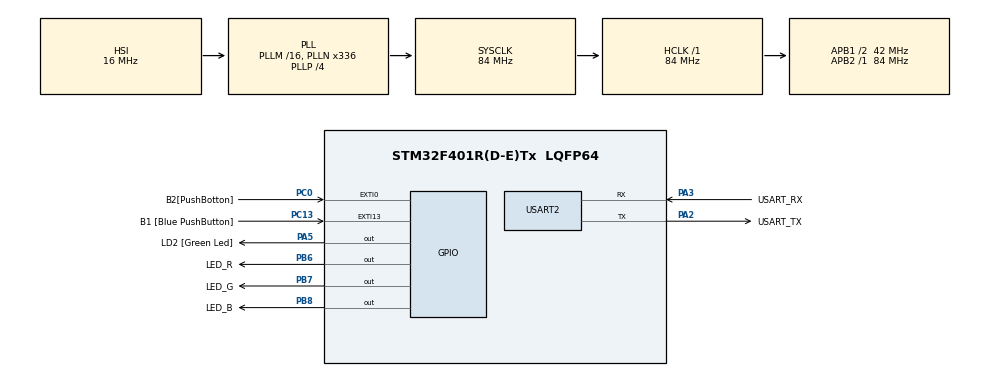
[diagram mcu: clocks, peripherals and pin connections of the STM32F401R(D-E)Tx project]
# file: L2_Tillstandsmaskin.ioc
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Mcu.Family=STM32F4
Mcu.Name=STM32F401R(D-E)Tx
Mcu.Package=LQFP64
NVIC.EXTI0_IRQn=true\:0\:0\:false\:false\:true\:true
NVIC.EXTI15_10_IRQn=true\:0\:0\:false\:false\:true\:true
NVIC.PriorityGroup=NVIC_PRIORITYGROUP_0
PA13.GPIO_Label=TMS
PA13.Mode=Serial_Wire
PA13.Signal=SYS_JTMS-SWDIO
PA14.GPIO_Label=TCK
PA14.Mode=Serial_Wire
PA14.Signal=SYS_JTCK-SWCLK
PA2.GPIO_Label=USART_TX
PA2.GPIO_Mode=GPIO_MODE_AF_PP
PA2.GPIO_PuPd=GPIO_NOPULL
PA2.GPIO_Speed=GPIO_SPEED_FREQ_LOW
PA2.Mode=Asynchronous
PA2.Signal=USART2_TX
PA3.GPIO_Label=USART_RX
PA3.GPIO_Mode=GPIO_MODE_AF_PP
PA3.GPIO_PuPd=GPIO_NOPULL
PA3.GPIO_Speed=GPIO_SPEED_FREQ_LOW
PA3.Mode=Asynchronous
PA3.Signal=USART2_RX
PA5.GPIO_Label=LD2 [Green Led]
PA5.GPIO_Mode=GPIO_MODE_OUTPUT_PP
PA5.GPIO_PuPd=GPIO_NOPULL
PA5.GPIO_Speed=GPIO_SPEED_FREQ_LOW
PA5.Signal=GPIO_Output
PB3.GPIO_Label=SWO
PB3.Signal=SYS_JTDO-SWO
PB6.GPIO_Label=LED_R
PB6.Signal=GPIO_Output
PB7.GPIO_Label=LED_G
PB7.Signal=GPIO_Output
PB8.GPIO_Label=LED_B
PB8.Signal=GPIO_Output
PC0.GPIO_Label=B2[PushBotton]
PC0.Signal=GPXTI0
PC13-ANTI_TAMP.GPIO_Label=B1 [Blue PushButton]
PC13-ANTI_TAMP.GPIO_ModeDefaultEXTI=GPIO_MODE_IT_FALLING
PC13-ANTI_TAMP.GPIO_PuPd=GPIO_NOPULL
PC13-ANTI_TAMP.Signal=GPXTI13
PC14-OSC32_IN.Mode=LSE-External-Clock-Source
PC14-OSC32_IN.Signal=RCC_OSC32_IN
PC15-OSC32_OUT.Mode=LSE-External-Clock-Source
PC15-OSC32_OUT.Signal=RCC_OSC32_OUT
PH0\ -\ OSC_IN.Mode=HSE-External-Clock-Source
PH0\ -\ OSC_IN.Signal=RCC_OSC_IN
PH1\ -\ OSC_OUT.Mode=HSE-External-Clock-Source
PH1\ -\ OSC_OUT.Signal=RCC_OSC_OUT
ProjectManager.HeapSize=0x200
ProjectManager.StackSize=0x400
ProjectManager.TargetToolchain=TrueSTUDIO
RCC.48MHZClocksFreq_Value=48000000
RCC.AHBFreq_Value=84000000
RCC.APB1CLKDivider=RCC_HCLK_DIV2
RCC.APB1Freq_Value=42000000
RCC.APB1TimFreq_Value=84000000
RCC.APB2Freq_Value=84000000
RCC.APB2TimFreq_Value=84000000
RCC.CortexFreq_Value=84000000
RCC.HCLKFreq_Value=84000000
RCC.HSE_VALUE=8000000
RCC.HSI_VALUE=16000000
RCC.LSE_VALUE=0.000032767999999999995
RCC.PLLN=336
RCC.PLLP=RCC_PLLP_DIV4
RCC.PLLQ=7
RCC.SYSCLKFreq_VALUE=84000000
RCC.SYSCLKSource=RCC_SYSCLKSOURCE_PLLCLK
RCC.VCOOutputFreq_Value=336000000
USART2.VirtualMode=VM_ASYNC
board=NUCLEO-F401RE

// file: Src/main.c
/**
  ******************************************************************************
  * @file           : main.c
  * @brief          : Main program body
  ******************************************************************************
  ** This notice applies to any and all portions of this file
  * that are not between comment pairs USER CODE BEGIN and
  * USER CODE END. Other portions of this file, whether
  * inserted by the user or by software development tools
  * are owned by their respective copyright owners.
  *
  * COPYRIGHT(c) 2018 STMicroelectronics
  *
  * Redistribution and use in source and binary forms, with or without modification,
  * are permitted provided that the following conditions are met:
  *   1. Redistributions of source code must retain the above copyright notice,
  *      this list of conditions and the following disclaimer.
  *   2. Redistributions in binary form must reproduce the above copyright notice,
  *      this list of conditions and the following disclaimer in the documentation
  *      and/or other materials provided with the distribution.
  *   3. Neither the name of STMicroelectronics nor the names of its contributors
  *      may be used to endorse or promote products derived from this software
  *      without specific prior written permission.
  *
  * THIS SOFTWARE IS PROVIDED BY THE COPYRIGHT HOLDERS AND CONTRIBUTORS "AS IS"
  * AND ANY EXPRESS OR IMPLIED WARRANTIES, INCLUDING, BUT NOT LIMITED TO, THE
  * IMPLIED WARRANTIES OF MERCHANTABILITY AND FITNESS FOR A PARTICULAR PURPOSE ARE
  * DISCLAIMED. IN NO EVENT SHALL THE COPYRIGHT HOLDER OR CONTRIBUTORS BE LIABLE
  * FOR ANY DIRECT, INDIRECT, INCIDENTAL, SPECIAL, EXEMPLARY, OR CONSEQUENTIAL
  * DAMAGES (INCLUDING, BUT NOT LIMITED TO, PROCUREMENT OF SUBSTITUTE GOODS OR
  * SERVICES; LOSS OF USE, DATA, OR PROFITS; OR BUSINESS INTERRUPTION) HOWEVER
  * CAUSED AND ON ANY THEORY OF LIABILITY, WHETHER IN CONTRACT, STRICT LIABILITY,
  * OR TORT (INCLUDING NEGLIGENCE OR OTHERWISE) ARISING IN ANY WAY OUT OF THE USE
  * OF THIS SOFTWARE, EVEN IF ADVISED OF THE POSSIBILITY OF SUCH DAMAGE.
  *
  ******************************************************************************
  */
#include "main.h"
#include "stm32f4xx_hal.h"

UART_HandleTypeDef huart2;

/* USER CODE BEGIN PV */
/* Private variables ---------------------------------------------------------*/
typedef enum {PRESSED, nonPRESSED} state_button;
typedef enum {RED, REDWAIT, GREEN, GREENWAIT, BLUE, BLUEWAIT, WHITE, WHITEWAIT,
	YELLOW, YELLOWWAIT, LIGHTBLUE, LIGHTBLUEWAIT, PURPLE, PURPLEWAIT, OFF, OFFWAIT} state_led;

static state_led ledState = OFF;
static state_button s_button = nonPRESSED;

/* USER CODE END PV */

void SystemClock_Config(void);
static void MX_GPIO_Init(void);
static void MX_USART2_UART_Init(void);

/* USER CODE BEGIN PFP */
/* Private function prototypes -----------------------------------------------*/
void walkingLed();

/* USER CODE END PFP */

int main(void)
{

  /* MCU Configuration----------------------------------------------------------*/

  /* Reset of all peripherals, Initializes the Flash interface and the Systick. */
  HAL_Init();

  /* Configure the system clock */
  SystemClock_Config();

  /* Initialize all configured peripherals */
  MX_GPIO_Init();
  MX_USART2_UART_Init();
  /* USER CODE BEGIN 2 */

  void walkingLed(){

   switch(ledState)
   {
    case OFF:
    	HAL_GPIO_WritePin(LED_R_GPIO_Port, LED_R_Pin, GPIO_PIN_SET);
    	HAL_GPIO_WritePin(LED_G_GPIO_Port, LED_G_Pin, GPIO_PIN_SET);
    	HAL_GPIO_WritePin(LED_B_GPIO_Port, LED_B_Pin, GPIO_PIN_SET);
    	ledState = OFFWAIT;
    	break;

    case OFFWAIT:
    	if(s_button == PRESSED)
    	{
    		ledState = RED;
    		s_button = nonPRESSED;
    	}
    	break;

    case RED:
    	HAL_GPIO_WritePin(LED_R_GPIO_Port, LED_R_Pin, GPIO_PIN_RESET);
    	HAL_GPIO_WritePin(LED_G_GPIO_Port, LED_G_Pin, GPIO_PIN_SET);
    	HAL_GPIO_WritePin(LED_B_GPIO_Port, LED_B_Pin, GPIO_PIN_SET);
    	ledState = REDWAIT;
   		break;

    case REDWAIT:
    	if(s_button == PRESSED)
    	{
   			ledState = GREEN;
    		s_button = nonPRESSED;

   		}
   		break;

   	case GREEN:
   		HAL_GPIO_WritePin(LED_R_GPIO_Port, LED_R_Pin, GPIO_PIN_SET);
   		HAL_GPIO_WritePin(LED_G_GPIO_Port, LED_G_Pin, GPIO_PIN_RESET);
    	HAL_GPIO_WritePin(LED_B_GPIO_Port, LED_B_Pin, GPIO_PIN_SET);
   		ledState = GREENWAIT;
  		break;

    case GREENWAIT:
    	if(s_button == PRESSED)
    	{
    		ledState = BLUE;
    		s_button = nonPRESSED;

    	}
    	break;

    case BLUE:
    	HAL_GPIO_WritePin(LED_R_GPIO_Port, LED_R_Pin, GPIO_PIN_SET);
    	HAL_GPIO_WritePin(LED_G_GPIO_Port, LED_G_Pin, GPIO_PIN_SET);
   		HAL_GPIO_WritePin(LED_B_GPIO_Port, LED_B_Pin, GPIO_PIN_RESET);
   		ledState = BLUEWAIT;
 		break;

    case BLUEWAIT:
    	if(s_button == PRESSED)
    	{
    		ledState = WHITE;
    		s_button = nonPRESSED;

    	}
    	break;

    case WHITE:
    	HAL_GPIO_WritePin(LED_R_GPIO_Port, LED_R_Pin, GPIO_PIN_RESET);
    	HAL_GPIO_WritePin(LED_G_GPIO_Port, LED_G_Pin, GPIO_PIN_RESET);
    	HAL_GPIO_WritePin(LED_B_GPIO_Port, LED_B_Pin, GPIO_PIN_RESET);
    	ledState = WHITEWAIT;
    	break;

    case WHITEWAIT:
    	if(s_button == PRESSED)
    	{
    		ledState = YELLOW;
    		s_button = nonPRESSED;

    	}
   		break;

   	case YELLOW:
   		HAL_GPIO_WritePin(LED_R_GPIO_Port, LED_R_Pin, GPIO_PIN_RESET);
   		HAL_GPIO_WritePin(LED_G_GPIO_Port, LED_G_Pin, GPIO_PIN_RESET);
   		HAL_GPIO_WritePin(LED_B_GPIO_Port, LED_B_Pin, GPIO_PIN_SET);
    	ledState = YELLOWWAIT;
    	break;

    case YELLOWWAIT:
    	if(s_button == PRESSED)
    	{
    		ledState = LIGHTBLUE;
    		s_button = nonPRESSED;

    	}
    	break;

    case LIGHTBLUE:
    	HAL_GPIO_WritePin(LED_R_GPIO_Port, LED_R_Pin, GPIO_PIN_SET);
    	HAL_GPIO_WritePin(LED_G_GPIO_Port, LED_G_Pin, GPIO_PIN_RESET);
    	HAL_GPIO_WritePin(LED_B_GPIO_Port, LED_B_Pin, GPIO_PIN_RESET);
    	ledState = LIGHTBLUEWAIT;
    	break;

    case LIGHTBLUEWAIT:
    	if(s_button == PRESSED)
    	{
    		ledState = PURPLE;
    		s_button = nonPRESSED;

    	}
    	break;

    case PURPLE:
    	HAL_GPIO_WritePin(LED_R_GPIO_Port, LED_R_Pin, GPIO_PIN_RESET);
    	HAL_GPIO_WritePin(LED_G_GPIO_Port, LED_G_Pin, GPIO_PIN_SET);
    	HAL_GPIO_WritePin(LED_B_GPIO_Port, LED_B_Pin, GPIO_PIN_RESET);
    	ledState = PURPLEWAIT;
    	break;

    case PURPLEWAIT:
    	if(s_button == PRESSED)
    	{
    		ledState = OFF;
    		s_button = nonPRESSED;

    	}
    	break;

    	}
    }

  /* USER CODE END 2 */

  /* Infinite loop */
  /* USER CODE BEGIN WHILE */
  while (1)
  {
	  walkingLed();

  /* USER CODE END WHILE */

  }

}

void SystemClock_Config(void)
{

  RCC_OscInitTypeDef RCC_OscInitStruct;
  RCC_ClkInitTypeDef RCC_ClkInitStruct;

    /**Configure the main internal regulator output voltage
    */
  __HAL_RCC_PWR_CLK_ENABLE();

  __HAL_PWR_VOLTAGESCALING_CONFIG(PWR_REGULATOR_VOLTAGE_SCALE2);

    /**Initializes the CPU, AHB and APB busses clocks
    */
  RCC_OscInitStruct.OscillatorType = RCC_OSCILLATORTYPE_HSI;
  RCC_OscInitStruct.HSIState = RCC_HSI_ON;
  RCC_OscInitStruct.HSICalibrationValue = 16;
  RCC_OscInitStruct.PLL.PLLState = RCC_PLL_ON;
  RCC_OscInitStruct.PLL.PLLSource = RCC_PLLSOURCE_HSI;
  RCC_OscInitStruct.PLL.PLLM = 16;
  RCC_OscInitStruct.PLL.PLLN = 336;
  RCC_OscInitStruct.PLL.PLLP = RCC_PLLP_DIV4;
  RCC_OscInitStruct.PLL.PLLQ = 7;
  if (HAL_RCC_OscConfig(&RCC_OscInitStruct) != HAL_OK)
  {
    _Error_Handler(__FILE__, __LINE__);
  }

    /**Initializes the CPU, AHB and APB busses clocks
    */
  RCC_ClkInitStruct.ClockType = RCC_CLOCKTYPE_HCLK|RCC_CLOCKTYPE_SYSCLK
                              |RCC_CLOCKTYPE_PCLK1|RCC_CLOCKTYPE_PCLK2;
  RCC_ClkInitStruct.SYSCLKSource = RCC_SYSCLKSOURCE_PLLCLK;
  RCC_ClkInitStruct.AHBCLKDivider = RCC_SYSCLK_DIV1;
  RCC_ClkInitStruct.APB1CLKDivider = RCC_HCLK_DIV2;
  RCC_ClkInitStruct.APB2CLKDivider = RCC_HCLK_DIV1;

  if (HAL_RCC_ClockConfig(&RCC_ClkInitStruct, FLASH_LATENCY_2) != HAL_OK)
  {
    _Error_Handler(__FILE__, __LINE__);
  }

    /**Configure the Systick interrupt time
    */
  HAL_SYSTICK_Config(HAL_RCC_GetHCLKFreq()/1000);

    /**Configure the Systick
    */
  HAL_SYSTICK_CLKSourceConfig(SYSTICK_CLKSOURCE_HCLK);

  /* SysTick_IRQn interrupt configuration */
  HAL_NVIC_SetPriority(SysTick_IRQn, 0, 0);
}

/* USART2 init function */
static void MX_USART2_UART_Init(void)
{

  huart2.Instance = USART2;
  huart2.Init.BaudRate = 115200;
  huart2.Init.WordLength = UART_WORDLENGTH_8B;
  huart2.Init.StopBits = UART_STOPBITS_1;
  huart2.Init.Parity = UART_PARITY_NONE;
  huart2.Init.Mode = UART_MODE_TX_RX;
  huart2.Init.HwFlowCtl = UART_HWCONTROL_NONE;
  huart2.Init.OverSampling = UART_OVERSAMPLING_16;
  if (HAL_UART_Init(&huart2) != HAL_OK)
  {
    _Error_Handler(__FILE__, __LINE__);
  }

}

/** Configure pins as
        * Analog
        * Input
        * Output
        * EVENT_OUT
        * EXTI
*/
static void MX_GPIO_Init(void)
{

  GPIO_InitTypeDef GPIO_InitStruct;

  /* GPIO Ports Clock Enable */
  __HAL_RCC_GPIOC_CLK_ENABLE();
  __HAL_RCC_GPIOH_CLK_ENABLE();
  __HAL_RCC_GPIOA_CLK_ENABLE();
  __HAL_RCC_GPIOB_CLK_ENABLE();

  /*Configure GPIO pin Output Level */
  HAL_GPIO_WritePin(LD2_GPIO_Port, LD2_Pin, GPIO_PIN_RESET);

  /*Configure GPIO pin Output Level */
  HAL_GPIO_WritePin(GPIOB, LED_R_Pin|LED_G_Pin|LED_B_Pin, GPIO_PIN_RESET);

  /*Configure GPIO pin : B1_Pin */
  GPIO_InitStruct.Pin = B1_Pin;
  GPIO_InitStruct.Mode = GPIO_MODE_IT_FALLING;
  GPIO_InitStruct.Pull = GPIO_NOPULL;
  HAL_GPIO_Init(B1_GPIO_Port, &GPIO_InitStruct);

  /*Configure GPIO pin : B2_Pin */
  GPIO_InitStruct.Pin = B2_Pin;
  GPIO_InitStruct.Mode = GPIO_MODE_IT_RISING;
  GPIO_InitStruct.Pull = GPIO_NOPULL;
  HAL_GPIO_Init(B2_GPIO_Port, &GPIO_InitStruct);

  /*Configure GPIO pin : LD2_Pin */
  GPIO_InitStruct.Pin = LD2_Pin;
  GPIO_InitStruct.Mode = GPIO_MODE_OUTPUT_PP;
  GPIO_InitStruct.Pull = GPIO_NOPULL;
  GPIO_InitStruct.Speed = GPIO_SPEED_FREQ_LOW;
  HAL_GPIO_Init(LD2_GPIO_Port, &GPIO_InitStruct);

  /*Configure GPIO pins : LED_R_Pin LED_G_Pin LED_B_Pin */
  GPIO_InitStruct.Pin = LED_R_Pin|LED_G_Pin|LED_B_Pin;
  GPIO_InitStruct.Mode = GPIO_MODE_OUTPUT_PP;
  GPIO_InitStruct.Pull = GPIO_NOPULL;
  GPIO_InitStruct.Speed = GPIO_SPEED_FREQ_LOW;
  HAL_GPIO_Init(GPIOB, &GPIO_InitStruct);

  /* EXTI interrupt init*/
  HAL_NVIC_SetPriority(EXTI0_IRQn, 0, 0);
  HAL_NVIC_EnableIRQ(EXTI0_IRQn);

  HAL_NVIC_SetPriority(EXTI15_10_IRQn, 0, 0);
  HAL_NVIC_EnableIRQ(EXTI15_10_IRQn);

}

/* USER CODE BEGIN 4 */

void HAL_GPIO_EXTI_Callback(uint16_t GPIO_Pin){

	if(HAL_GPIO_ReadPin(B2_GPIO_Port, B2_Pin)){
		s_button = PRESSED;
	}
}

/* USER CODE END 4 */

void _Error_Handler(char *file, int line)
{
  while(1)
  {
  }
}

/************************ (C) COPYRIGHT STMicroelectronics *****END OF FILE****/
